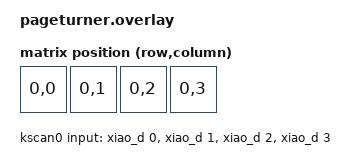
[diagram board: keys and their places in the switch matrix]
#include <dt-bindings/zmk/matrix_transform.h>
#include <physical_layouts.dtsi>

/ {
    chosen {
        zmk,kscan = &kscan0;
        zmk,physical-layout = &physical_layout0;
    };

    physical_layout0: physical_layout_0 {
        compatible = "zmk,physical-layout";
        display-name = "Default";
        transform = <&transform0>;
        keys //                     w   h    x    y   rot  rx  ry
            = <&key_physical_attrs 100 100    0    0     0   0   0>
            , <&key_physical_attrs 100 100  100    0     0   0   0>
            , <&key_physical_attrs 100 100  200    0     0   0   0>
            , <&key_physical_attrs 100 100  300    0     0   0   0>
            ;
    };

    transform0: keymap_transform {
        compatible = "zmk,matrix-transform";
        columns = <4>;
        rows = <1>;
        map = <RC(0,0) RC(0,1) RC(0,2) RC(0,3)>;
    };

    kscan0: kscan {
        compatible = "zmk,kscan-gpio-direct";
        wakeup-source;
        input-gpios
            = <&xiao_d 0 (GPIO_ACTIVE_LOW | GPIO_PULL_UP)>
            , <&xiao_d 1 (GPIO_ACTIVE_LOW | GPIO_PULL_UP)>
            , <&xiao_d 2 (GPIO_ACTIVE_LOW | GPIO_PULL_UP)>
            , <&xiao_d 3 (GPIO_ACTIVE_LOW | GPIO_PULL_UP)>
            ;
    };
};
